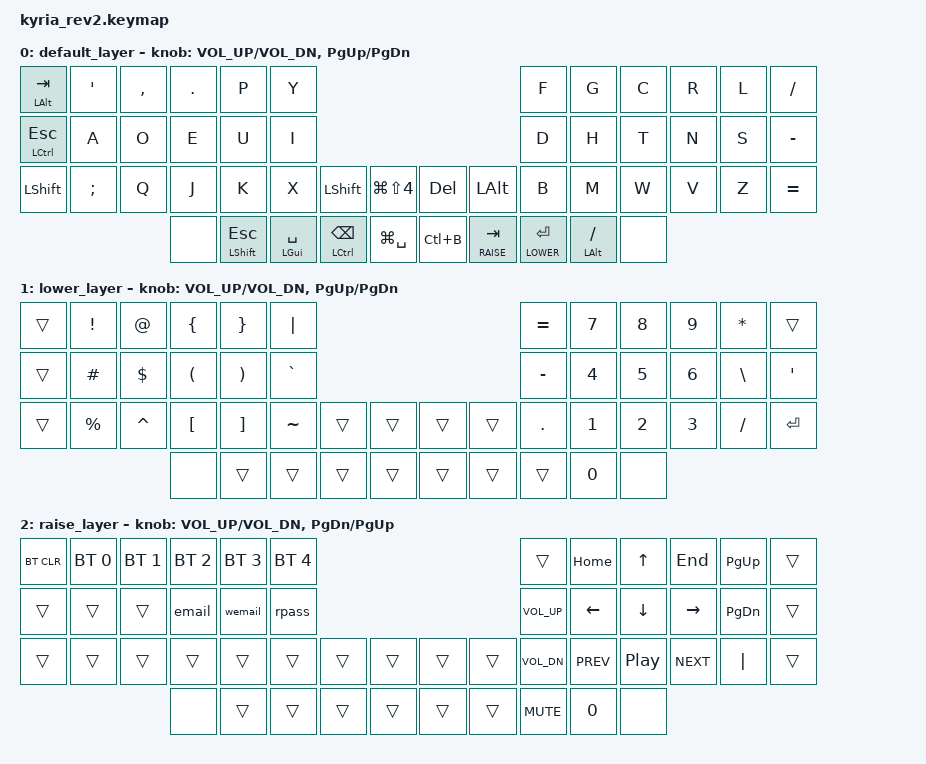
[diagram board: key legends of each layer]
/*
 * Copyright (c) 2020 The ZMK Contributors
 *
 * SPDX-License-Identifier: MIT
 */

#include <behaviors.dtsi>
#include <dt-bindings/zmk/bt.h>
#include <dt-bindings/zmk/keys.h>

#define DEFAULT 0
#define LOWER 1
#define RAISE 2

&mt {
  tapping-term-ms = <150>;
  flavor= "balanced";
  quick-tap-ms = <125>;
};

/ {
	keymap { compatible = "zmk,keymap";

		default_layer {
			bindings = <
	&mt LALT TAB   &kp APOS  &kp COMMA &kp DOT  &kp P          &kp Y                                                                             &kp F            &kp G            &kp C  &kp R  &kp L  &kp SLASH
	&mt LCTRL ESC  &kp A     &kp O     &kp E    &kp U          &kp I                                                                             &kp D            &kp H            &kp T  &kp N  &kp S  &kp MINUS
	&kp LSHFT      &kp SEMI  &kp Q     &kp J    &kp K          &kp X            &kp LSHFT        &kp LG(LS(N4))      &kp DELETE   &kp LALT       &kp B            &kp M            &kp W  &kp V  &kp Z  &kp EQUAL
	                                   &none    &mt LSHFT ESC  &mt LGUI SPACE   &mt LCTRL BSPC   &kp LG(SPACE)       &kp LC(B)    &lt RAISE TAB  &lt LOWER ENTER  &mt LALT SLASH   &none
			>;

			sensor-bindings = <&inc_dec_kp C_VOL_UP C_VOL_DN &inc_dec_kp PG_UP PG_DN>;
		};

		lower_layer {
			bindings = <
	&trans  &kp EXCL  &kp AT     &kp LBRC  &kp RBRC  &kp PIPE                                         &kp EQUAL  &kp N7  &kp N8  &kp N9  &kp STAR   &trans
	&trans  &kp HASH  &kp DLLR   &kp LPAR  &kp RPAR  &kp GRAVE                                        &kp MINUS  &kp N4  &kp N5  &kp N6  &kp BSLH   &kp SQT
	&trans  &kp PRCNT &kp CARET  &kp LBKT  &kp RBKT  &kp TILDE  &trans  &trans        &trans  &trans  &kp DOT    &kp N1  &kp N2  &kp N3  &kp SLASH  &kp ENTER
	                             &none     &trans    &trans     &trans  &trans        &trans  &trans  &trans     &kp N0  &none
			>;

			sensor-bindings = <&inc_dec_kp C_VOL_UP C_VOL_DN &inc_dec_kp PG_UP PG_DN>;
		};

		raise_layer {
			bindings = <
	&bt BT_CLR  &bt BT_SEL 0  &bt BT_SEL 1  &bt BT_SEL 2  &bt BT_SEL 3  &bt BT_SEL 4                                        &trans        &kp HOME    &kp UP            &kp END     &kp PG_UP  &trans
	&trans      &trans        &trans        &email        &wemail       &rpass                                              &kp C_VOL_UP  &kp LEFT    &kp DOWN          &kp RIGHT   &kp PG_DN  &trans
	&trans      &trans        &trans        &trans        &trans        &trans        &trans  &trans        &trans  &trans  &kp C_VOL_DN  &kp C_PREV  &kp C_PLAY_PAUSE  &kp C_NEXT  &kp PIPE   &trans
	                                        &none         &trans        &trans        &trans  &trans        &trans  &trans  &kp C_MUTE    &kp N0      &none
			>;

			sensor-bindings = <&inc_dec_kp C_VOL_UP C_VOL_DN &inc_dec_kp PG_DN PG_UP>;
		};
	};

  macros {
    email: email {
      label = "HPM_email";
      compatible = "zmk,behavior-macro";
      #binding-cells = <0>;
      tap-ms = <20>;
      wait-ms = <10>;
      bindings
        = <&kp H &kp A &kp R &kp R &kp Y>
        , <&kp AT>
        , <&kp P &kp O &kp R &kp T &kp E &kp R &kp M &kp I &kp L &kp L &kp S>
        , <&kp DOT &kp N &kp E &kp T>
        ;
    };

    wemail: wemail {
      label = "WORK_email";
      compatible = "zmk,behavior-macro";
      #binding-cells = <0>;
      tap-ms = <20>;
      wait-ms = <10>;
      bindings
        = <&kp H &kp A &kp R &kp R &kp Y &kp DOT>
        , <&kp P &kp O &kp R &kp T &kp E &kp R &kp MINUS &kp M &kp I &kp L &kp L &kp S>
        , <&kp AT>
        , <&kp I &kp N &kp S &kp T &kp A &kp C &kp A &kp R &kp T>
        , <&kp DOT &kp C &kp O &kp M>
        ;
    };

    rpass: rpass {
      label = "RELAY_password";
      compatible = "zmk,behavior-macro";
      #binding-cells = <0>;
      bindings = <&kp P &kp A &kp N5 &kp N5 &kp W &kp O &kp R &kp D &kp N1 &kp N2>;
    };
  };
};
